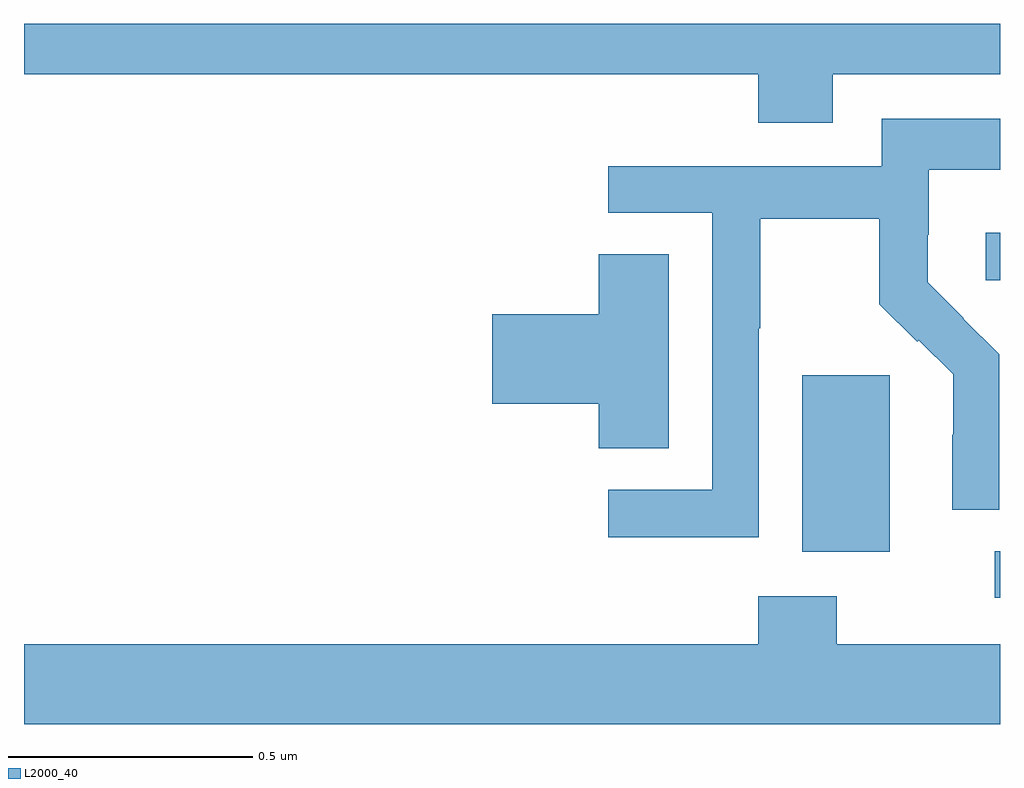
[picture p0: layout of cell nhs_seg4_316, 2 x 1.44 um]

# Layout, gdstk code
import gdstk
lib = gdstk.Library(unit=1e-6, precision=1e-09)
def R(c, l, rs):  # rectangles x0, y0, x1, y1
    for r in rs: c.add(gdstk.rectangle(r[:2], r[2:], *l))
def P(c, l, *ps):  # polygons
    for p in ps: c.add(gdstk.Polygon(p, *l))
L2000_40 = (2000, 40)

nhs_seg4_316 = lib.new_cell('nhs_seg4_316')
R(nhs_seg4_316, L2000_40, [(115.989,819.723,116,819.819), (115.595,819.818,115.774,820.179), (115.971,820.374,116,820.471)])
P(nhs_seg4_316, L2000_40, [(115.657,820.796),(116,820.796),(116,820.9),(114,820.9),(114,820.796),(115.505,820.796),(115.505,820.697),(115.657,820.697)],
  [(115.506,820.276),(115.509,820.276),(115.509,820.5),(115.753,820.5),(115.753,820.325),(115.83,820.248),(115.833,820.251),(115.904,820.181),(115.904,820.058),(115.902,820.058),(115.902,819.904),(115.998,819.904),(115.998,820.222),(115.925,820.295),(115.926,820.296),(115.852,820.37),(115.852,820.467),(115.854,820.467),(115.854,820.601),(116,820.601),(116,820.705),(115.758,820.705),(115.758,820.608),(115.197,820.608),(115.197,820.512),(115.41,820.512),(115.41,819.945),(115.197,819.945),(115.197,819.847),(115.506,819.847)],
  [(115.321,820.427),(115.178,820.427),(115.178,820.304),(114.96,820.304),(114.96,820.121),(115.178,820.121),(115.178,820.03),(115.321,820.03)],
  [(116,819.628),(115.665,819.628),(115.665,819.727),(115.505,819.727),(115.505,819.628),(114,819.628),(114,819.464),(116,819.464)])

lib.write_gds('nhs_seg4_316.gds')
